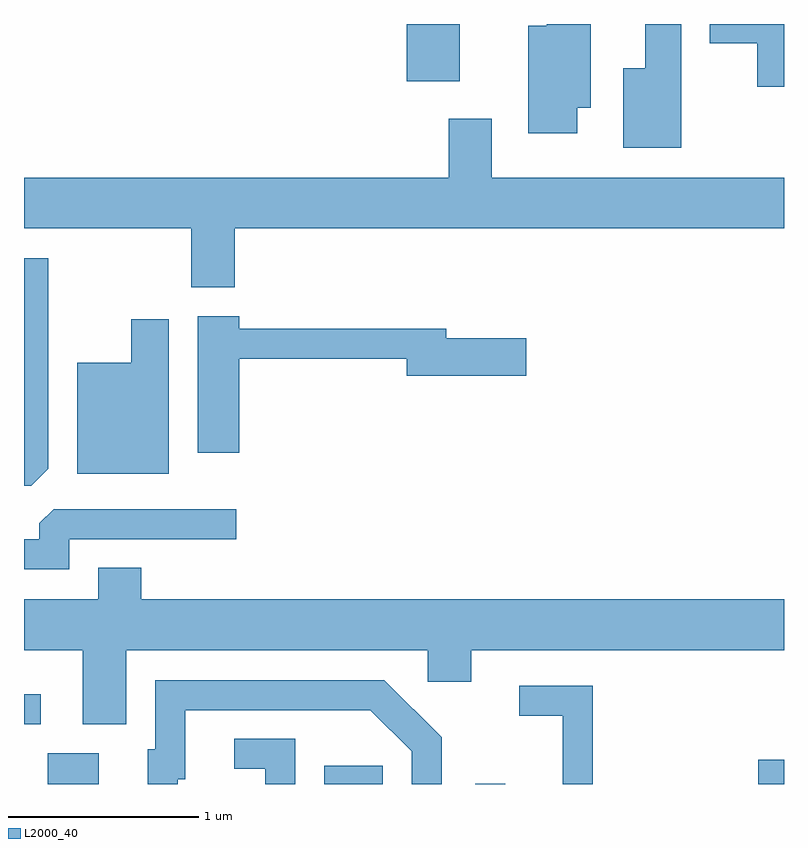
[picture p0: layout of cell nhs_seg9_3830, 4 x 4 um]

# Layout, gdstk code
import gdstk
lib = gdstk.Library(unit=1e-6, precision=1e-09)
def R(c, l, rs):  # rectangles x0, y0, x1, y1
    for r in rs: c.add(gdstk.rectangle(r[:2], r[2:], *l))
def P(c, l, *ps):  # polygons
    for p in ps: c.add(gdstk.Polygon(p, *l))
L2000_40 = (2000, 40)

nhs_seg9_3830 = lib.new_cell('nhs_seg9_3830')
R(nhs_seg9_3830, L2000_40, [(297.736,2004.432,298.004,2004.594), (299.191,2004.432,299.499,2004.529), (299.986,2004.432,300.144,2004.433), (301.476,2004.432,301.611,2004.559), (297.611,2004.746,297.698,2004.904), (299.626,2008.131,299.904,2008.432)])
P(nhs_seg9_3830, L2000_40, [(301.611,2008.432),(301.221,2008.432),(301.221,2008.331),(301.471,2008.331),(301.471,2008.101),(301.611,2008.101)],
  [(301.069,2008.432),(300.881,2008.432),(300.881,2008.199),(300.766,2008.199),(300.766,2007.781),(301.069,2007.781)],
  [(300.524,2007.991),(300.594,2007.991),(300.594,2008.432),(300.361,2008.432),(300.361,2008.424),(300.266,2008.424),(300.266,2007.856),(300.524,2007.856)],
  [(298.719,2007.356),(301.611,2007.356),(301.611,2007.624),(300.074,2007.624),(300.074,2007.934),(299.846,2007.934),(299.846,2007.624),(297.611,2007.624),(297.611,2007.356),(298.491,2007.356),(298.491,2007.046),(298.719,2007.046)],
  [(297.66,2006.013),(297.739,2006.092),(297.739,2007.199),(297.611,2007.199),(297.611,2006.001),(297.649,2006.001)],
  [(298.744,2006.671),(299.626,2006.671),(299.626,2006.581),(300.254,2006.581),(300.254,2006.779),(299.834,2006.779),(299.834,2006.829),(298.744,2006.829),(298.744,2006.894),(298.526,2006.894),(298.526,2006.176),(298.744,2006.176)],
  [(298.374,2006.879),(298.176,2006.879),(298.176,2006.649),(297.891,2006.649),(297.891,2006.066),(298.374,2006.066)],
  [(297.849,2005.721),(298.728,2005.721),(298.728,2005.879),(297.767,2005.879),(297.691,2005.804),(297.691,2005.719),(297.611,2005.719),(297.611,2005.561),(297.849,2005.561)],
  [(298.149,2005.136),(299.736,2005.136),(299.736,2004.971),(299.964,2004.971),(299.964,2005.136),(301.611,2005.136),(301.611,2005.404),(298.229,2005.404),(298.229,2005.569),(298.001,2005.569),(298.001,2005.404),(297.611,2005.404),(297.611,2005.136),(297.921,2005.136),(297.921,2004.746),(298.149,2004.746)],
  [(298.419,2004.456),(298.459,2004.456),(298.459,2004.821),(299.434,2004.821),(299.651,2004.604),(299.651,2004.432),(299.809,2004.432),(299.809,2004.677),(299.507,2004.979),(298.301,2004.979),(298.301,2004.614),(298.261,2004.614),(298.261,2004.432),(298.419,2004.432)],
  [(300.604,2004.949),(300.218,2004.949),(300.218,2004.791),(300.446,2004.791),(300.446,2004.432),(300.604,2004.432)],
  [(299.039,2004.669),(298.718,2004.669),(298.718,2004.511),(298.881,2004.511),(298.881,2004.432),(299.039,2004.432)])

lib.write_gds('nhs_seg9_3830.gds')
